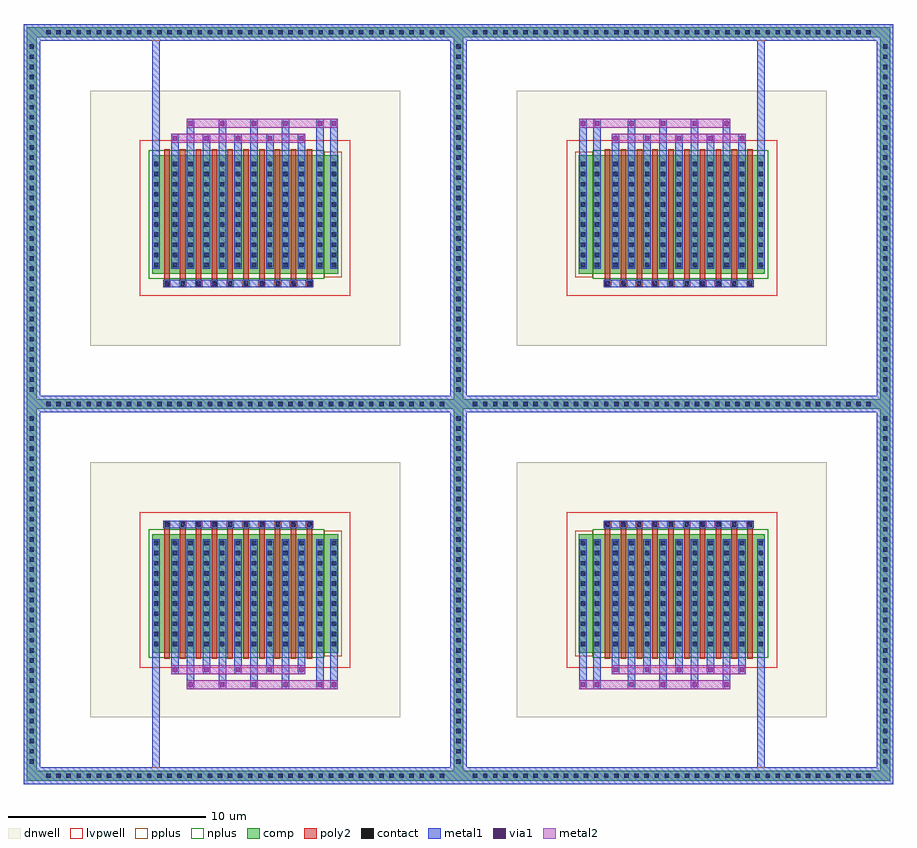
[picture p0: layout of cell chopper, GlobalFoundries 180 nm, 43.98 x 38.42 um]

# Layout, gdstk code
from math import pi, radians
import gdstk
lib = gdstk.Library(unit=1e-6, precision=1e-09)
def R(c, l, rs):  # rectangles x0, y0, x1, y1
    for r in rs: c.add(gdstk.rectangle(r[:2], r[2:], *l))
def A(c, l, x, y, w, h, nx, ny, dx, dy):  # array of equal rectangles
    R(c, l, [(x+i*dx, y+j*dy, x+i*dx+w, y+j*dy+h) for i in range(nx) for j in range(ny)])
def P(c, l, *ps):  # polygons
    for p in ps: c.add(gdstk.Polygon(p, *l))
dnwell = (12, 0)
comp = (22, 0)
poly2 = (30, 0)
pplus = (31, 0)
nplus = (32, 0)
contact = (33, 0)
metal1 = (34, 0)
via1 = (35, 0)
metal2 = (36, 0)
lvpwell = (204, 0)

nfet_1 = lib.new_cell('nfet$1')
R(nfet_1, dnwell, [(-3.55,-3.26,12.12,9.63)])
R(nfet_1, comp, [(-0.42,0,0,6), (0,0,7.86,6), (7.86,0,8.28,6), (8.28,0,8.99,6)])
P(nfet_1, comp, [(-6.75,-6.46),(-6.75,12.33),(-6.25,12.33),(-6.25,-5.96),(14.82,-5.96),(14.82,12.33),(-6.75,12.33),(-6.75,12.83),(15.32,12.83),(15.32,-6.46)])
A(nfet_1, poly2, 0.19, -0.3, 0.28, 6.6, 10, 1, 0.8, 0)
A(nfet_1, poly2, 0.15, 6.3, 0.36, 0.36, 10, 1, 0.8, 0)
R(nfet_1, pplus, [(8.28,-0.17,9.16,6.17)])
P(nfet_1, pplus, [(-6.92,-6.63),(-6.92,12.16),(-6.08,12.16),(-6.08,-5.79),(14.65,-5.79),(14.65,12.16),(-6.92,12.16),(-6.92,13),(15.49,13),(15.49,-6.63)])
R(nfet_1, nplus, [(-0.59,-0.24,8.28,6.24)])
A(nfet_1, contact, -5.77, -6.32, 0.22, 0.22, 40, 2, 0.51, 18.79)
A(nfet_1, contact, -6.61, -5.595, 0.22, 0.22, 1, 35, 0, 0.51)
A(nfet_1, contact, 14.96, -5.595, 0.22, 0.22, 1, 35, 0, 0.51)
A(nfet_1, contact, -0.32, 0.34, 0.22, 0.22, 1, 11, 0, 0.51)
A(nfet_1, contact, 0.62, 0.34, 0.22, 0.22, 9, 11, 0.8, 0.51)
A(nfet_1, contact, 7.96, 0.34, 0.22, 0.22, 1, 11, 0, 0.51)
A(nfet_1, contact, 8.67, 0.34, 0.22, 0.22, 1, 11, 0, 0.51)
A(nfet_1, contact, 0.22, 6.37, 0.22, 0.22, 10, 1, 0.8, 0)
A(nfet_1, metal1, 0.54, 0.26, 0.38, 5.48, 9, 1, 0.8, 0)
A(nfet_1, metal1, 0.14, 6.29, 0.38, 0.38, 10, 1, 0.8, 0)
R(nfet_1, metal1, [(-0.4,0.26,-0.02,5.74), (7.88,0.26,8.26,5.74), (8.59,0.26,8.97,5.74)])
R(nfet_1, lvpwell, [(-1.04,-0.75,9.61,7.12)])

osc_inv = lib.new_cell('OSC_INV')
R(osc_inv, metal1, [(0,-355.18,22.41,-354.34), (21.57,-355.18,22.41,-336.4), (0,-354.34,0.84,-336.06), (0,-336.39,22.41,-335.55)])
osc_inv.add(gdstk.Reference(nfet_1, (6.92,-348.55)))

chopper = lib.new_cell('chopper')
A(chopper, metal1, -5.76, -33.678, 0.38, 2.218, 4, 2, 1.6, 26.62)
A(chopper, metal1, 16.52, -33.678, 0.38, 2.218, 4, 2, 1.6, 26.62)
A(chopper, metal1, -4.96, -32.918, 0.38, 1.338, 4, 2, 1.6, 25.98)
A(chopper, metal1, 15.72, -32.918, 0.38, 1.338, 4, 2, 1.6, 25.98)
R(chopper, metal1, [(-7.5,-38.058,-7.12,-31.458), (23.06,-38.058,23.44,-31.458), (0.78,-33.678,1.16,-31.46), (1.49,-33.678,1.87,-31.46), (14.07,-33.678,14.45,-31.46), (14.78,-33.678,15.16,-31.46), (-6.56,-32.918,-6.18,-31.46), (22.12,-32.918,22.5,-31.46), (-6.96,-25.551,0.62,-25.169), (15.32,-25.551,22.9,-25.169), (-6.96,-13.349,0.62,-12.967), (15.32,-13.349,22.9,-12.967), (-7.5,-7.06,-7.12,-0.46), (23.06,-7.06,23.44,-0.46), (-6.56,-7.058,-6.18,-5.6), (0.78,-7.058,1.16,-4.84), (1.49,-7.058,1.87,-4.84), (14.07,-7.058,14.45,-4.84), (14.78,-7.058,15.16,-4.84), (22.12,-7.058,22.5,-5.6)])
A(chopper, via1, -5.68, -33.548, 0.22, 0.22, 4, 2, 1.6, 28.358)
A(chopper, via1, 16.6, -33.548, 0.22, 0.22, 4, 2, 1.6, 28.358)
A(chopper, via1, -6.48, -32.798, 0.22, 0.22, 5, 2, 1.6, 26.858)
A(chopper, via1, 15.8, -32.798, 0.22, 0.22, 5, 2, 1.6, 26.858)
R(chopper, via1, [(0.86,-33.548,1.08,-33.328), (1.57,-33.548,1.79,-33.328), (14.15,-33.548,14.37,-33.328), (14.86,-33.548,15.08,-33.328), (0.86,-5.19,1.08,-4.97), (1.57,-5.19,1.79,-4.97), (14.15,-5.19,14.37,-4.97), (14.86,-5.19,15.08,-4.97)])
R(chopper, metal2, [(-5.76,-33.678,1.87,-33.218), (14.07,-33.678,21.7,-33.218), (-6.56,-32.918,0.22,-32.458), (15.72,-32.918,22.5,-32.458), (-6.56,-6.06,0.22,-5.6), (15.72,-6.06,22.5,-5.6), (-5.76,-5.3,1.87,-4.84), (14.07,-5.3,21.7,-4.84)])
chopper.add(gdstk.Reference(osc_inv, (-14.02,-355.23), x_reflection=True))
chopper.add(gdstk.Reference(osc_inv, (-14.02,316.71)))
chopper.add(gdstk.Reference(osc_inv, (29.96,-355.23), rotation=pi))
chopper.add(gdstk.Reference(osc_inv, (29.96,316.71), rotation=pi, x_reflection=True))

lib.write_gds('chopper.gds')
